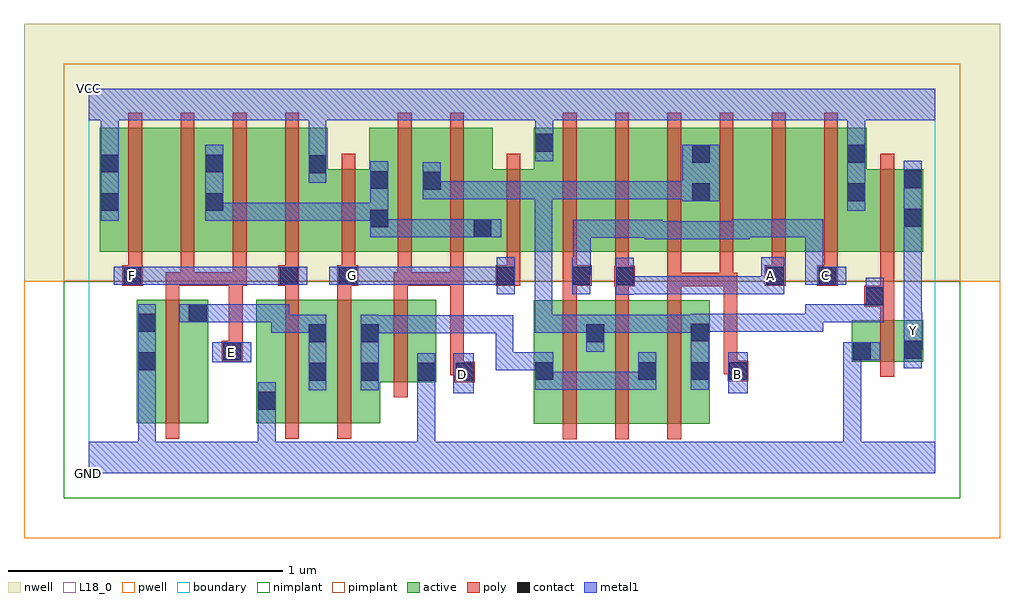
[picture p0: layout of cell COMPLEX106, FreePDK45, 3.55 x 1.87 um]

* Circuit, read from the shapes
.subckt COMPLEX106 A B C D E F G GND VCC Y
M1 n1 E GND VSUBS nfet w=0.45u l=0.05u
M2 n1 F GND VSUBS nfet w=0.45u l=0.05u
M3 n2 G n1 VSUBS nfet w=0.45u l=0.05u
M4 GND D n2 VSUBS nfet w=0.3u l=0.05u
M5 n3 C n2 VSUBS nfet w=0.45u l=0.05u
M6 n2 A n3 VSUBS nfet w=0.45u l=0.05u
M7 n3 B n2 VSUBS nfet w=0.45u l=0.05u
M8 Y n3 GND VSUBS nfet w=0.15u l=0.05u
M9 n4 F VCC n5 pfet w=0.45u l=0.05u
M10 n6 E n4 n5 pfet w=0.45u l=0.05u
M11 n7 E n6 n5 pfet w=0.45u l=0.05u
M12 VCC F n7 n5 pfet w=0.45u l=0.05u
M13 n6 G VCC n5 pfet w=0.3u l=0.05u m=2
M14 n3 D n6 n5 pfet w=0.45u l=0.05u m=2
M15 n8 C VCC n5 pfet w=0.45u l=0.05u
M16 n9 A n8 n5 pfet w=0.45u l=0.05u
M17 n3 B n9 n5 pfet w=0.45u l=0.05u
M18 n10 B n3 n5 pfet w=0.45u l=0.05u
M19 n11 A n10 n5 pfet w=0.45u l=0.05u
M20 VCC C n11 n5 pfet w=0.45u l=0.05u
M21 Y n3 VCC n5 pfet w=0.3u l=0.05u
.ends

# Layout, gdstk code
import gdstk
lib = gdstk.Library(unit=1e-6, precision=1e-09)
def R(c, l, rs):  # rectangles x0, y0, x1, y1
    for r in rs: c.add(gdstk.rectangle(r[:2], r[2:], *l))
def A(c, l, x, y, w, h, nx, ny, dx, dy):  # array of equal rectangles
    R(c, l, [(x+i*dx, y+j*dy, x+i*dx+w, y+j*dy+h) for i in range(nx) for j in range(ny)])
active = (1, 0)
pwell = (2, 0)
nwell = (3, 0)
nimplant = (4, 0)
pimplant = (5, 0)
poly = (9, 0)
contact = (10, 0)
metal1 = (11, 0)
L18_0 = (18, 0)
boundary = (235, 0)

complex106 = lib.new_cell('COMPLEX106')
R(complex106, active, [(1.62,0.18,1.88,0.63), (1.805,0.18,2.07,0.63), (1.995,0.18,2.26,0.63), (0.175,0.182,0.435,0.632), (0.61,0.182,0.87,0.632), (0.61,0.182,0.685,0.632), (0.795,0.182,1.06,0.632), (0.175,0.195,0.25,0.632), (0.36,0.195,0.435,0.632), (0.795,0.195,0.87,0.547), (1.62,0.195,1.695,0.63), (1.805,0.195,1.88,0.63), (1.995,0.195,2.07,0.542), (2.185,0.195,2.26,0.63), (0.985,0.2,1.06,0.547), (0.985,0.332,1.265,0.632), (1.19,0.332,1.265,0.632), (2.775,0.407,3.035,0.557), (2.775,0.407,2.85,0.557), (2.96,0.412,3.035,0.557), (0.04,0.807,0.115,1.257), (0.04,0.807,0.265,1.257), (0.265,0.807,0.495,1.257), (0.42,0.807,0.495,1.2), (0.42,0.807,0.645,1.257), (0.645,0.807,0.87,1.257), (0.795,0.807,1.095,1.107), (1.02,0.807,1.285,1.257), (1.02,0.807,1.095,1.2), (1.21,0.807,1.47,1.257), (1.21,0.807,1.285,1.2), (1.395,0.807,1.695,1.107), (1.62,0.807,1.845,1.257), (1.845,0.807,2.035,1.257), (2.035,0.807,2.265,1.257), (2.19,0.807,2.265,1.2), (2.19,0.807,2.415,1.257), (2.415,0.807,2.605,1.257), (2.605,0.807,2.83,1.257), (2.755,0.807,3.035,1.107), (2.755,0.807,2.83,1.2), (2.96,0.807,3.035,1.107), (0.795,0.852,0.87,1.162), (1.395,0.855,1.47,1.07), (1.62,0.932,1.695,1.257)])
R(complex106, pwell, [(-0.235,-0.235,3.315,0.7)])
R(complex106, nwell, [(-0.235,0.7,3.315,1.635)])
R(complex106, nimplant, [(-0.09,-0.09,3.17,0.7)])
R(complex106, pimplant, [(-0.09,0.7,3.17,1.49)])
A(complex106, poly, 1.725, 0.125, 0.05, 0.56, 3, 1, 0.19, 0)
A(complex106, poly, 0.145, 0.752, 0.05, 0.56, 4, 1, 0.19, 0)
A(complex106, poly, 1.725, 0.752, 0.05, 0.56, 6, 1, 0.19, 0)
R(complex106, poly, [(0.28,0.127,0.33,0.687), (0.715,0.127,0.765,0.687), (0.905,0.127,0.955,0.687), (1.11,0.277,1.16,0.687), (1.33,0.332,1.405,0.407), (2.325,0.335,2.4,0.41), (2.88,0.352,2.93,0.612), (1.315,0.357,1.38,0.407), (1.315,0.357,1.365,0.732), (1.33,0.357,1.38,0.407), (2.31,0.36,2.36,0.73), (2.31,0.36,2.375,0.41), (2.325,0.36,2.375,0.41), (0.485,0.407,0.56,0.482), (0.51,0.432,0.56,0.482), (0.51,0.432,0.56,0.482), (0.51,0.432,0.56,0.732), (2.88,0.562,2.93,0.657), (2.822,0.607,2.93,0.682), (2.88,0.632,2.93,0.802), (1.725,0.635,1.775,0.732), (1.915,0.635,1.965,0.73), (2.105,0.635,2.155,0.73), (0.28,0.637,0.33,0.732), (0.715,0.637,0.765,0.732), (0.905,0.637,0.955,0.732), (1.11,0.637,1.16,0.732), (1.912,0.68,1.987,0.755), (2.105,0.68,2.155,0.802), (2.105,0.68,2.155,0.73), (2.105,0.68,2.345,0.73), (2.295,0.68,2.345,0.802), (2.295,0.68,2.345,0.73), (2.295,0.68,2.345,0.73), (2.295,0.68,2.36,0.73), (0.122,0.682,0.197,0.757), (0.28,0.682,0.385,0.732), (0.335,0.682,0.385,0.732), (0.335,0.682,0.385,0.732), (0.335,0.682,0.385,0.802), (0.335,0.682,0.56,0.732), (0.51,0.682,0.575,0.732), (0.525,0.682,0.575,0.802), (0.69,0.682,0.765,0.757), (0.905,0.682,0.98,0.757), (1.11,0.682,1.175,0.732), (1.125,0.682,1.365,0.732), (1.125,0.682,1.175,0.802), (1.315,0.682,1.365,0.732), (1.315,0.682,1.365,0.732), (1.315,0.682,1.365,0.732), (1.315,0.682,1.365,0.802), (1.48,0.682,1.57,0.757), (1.725,0.682,1.83,0.757), (2.46,0.682,2.535,0.757), (2.65,0.682,2.725,0.757), (1.915,0.705,1.965,0.802), (0.145,0.707,0.195,0.802), (0.715,0.707,0.765,0.802), (0.92,0.707,0.97,0.802), (1.52,0.707,1.57,0.802), (1.725,0.707,1.775,0.802), (2.485,0.707,2.535,0.802), (2.675,0.707,2.725,0.802), (0.92,0.752,0.97,1.162), (1.125,0.752,1.175,1.312), (1.315,0.752,1.365,1.312), (1.52,0.752,1.57,1.162), (2.88,0.752,2.93,1.162)])
R(complex106, contact, [(0.615,0.232,0.68,0.297), (0.8,0.337,0.865,0.402), (0.99,0.337,1.055,0.402), (1.195,0.337,1.26,0.402), (1.335,0.337,1.4,0.402), (1.625,0.34,1.69,0.405), (2,0.34,2.065,0.405), (2.19,0.34,2.255,0.405), (2.33,0.34,2.395,0.405), (0.18,0.375,0.245,0.44), (0.49,0.412,0.555,0.477), (2.78,0.412,2.845,0.477), (2.965,0.417,3.03,0.482), (0.8,0.477,0.865,0.542), (0.99,0.477,1.055,0.542), (1.81,0.477,1.875,0.542), (2.19,0.48,2.255,0.545), (0.18,0.515,0.245,0.58), (0.365,0.55,0.43,0.615), (2.827,0.612,2.892,0.677), (1.917,0.685,1.982,0.75), (0.127,0.687,0.192,0.752), (0.695,0.687,0.76,0.752), (0.91,0.687,0.975,0.752), (1.485,0.687,1.55,0.752), (1.76,0.687,1.825,0.752), (2.465,0.687,2.53,0.752), (2.655,0.687,2.72,0.752), (1.4,0.86,1.465,0.925), (1.025,0.895,1.09,0.96), (2.965,0.897,3.03,0.962), (0.045,0.955,0.11,1.02), (0.425,0.955,0.49,1.02), (2.195,0.99,2.26,1.055), (2.76,0.99,2.825,1.055), (1.215,1.032,1.28,1.097), (1.025,1.035,1.09,1.1), (2.965,1.037,3.03,1.102), (0.8,1.092,0.865,1.157), (0.045,1.095,0.11,1.16), (0.425,1.095,0.49,1.16), (2.195,1.13,2.26,1.195), (2.76,1.13,2.825,1.195), (1.625,1.17,1.69,1.235)])
R(complex106, metal1, [(0,0,3.08,0.115), (0.18,0.05,0.245,0.115), (0.18,0.05,0.245,0.115), (0.18,0.05,0.245,0.405), (0.615,0.05,0.68,0.115), (0.615,0.05,0.68,0.115), (0.615,0.05,0.68,0.262), (1.195,0.05,1.26,0.115), (1.195,0.05,1.26,0.115), (1.195,0.05,1.26,0.115), (1.195,0.05,1.26,0.115), (1.195,0.05,1.26,0.367), (2.745,0.05,2.81,0.115), (2.745,0.05,2.81,0.115), (2.745,0.05,2.81,0.115), (2.745,0.05,2.81,0.115), (2.745,0.05,2.81,0.115), (2.745,0.05,2.81,0.115), (2.745,0.05,2.81,0.477), (0.615,0.197,0.68,0.332), (1.327,0.292,1.4,0.437), (2.327,0.292,2.397,0.44), (0.8,0.302,0.865,0.577), (0.99,0.302,1.055,0.577), (1.195,0.302,1.26,0.437), (1.625,0.305,1.69,0.37), (1.625,0.305,1.69,0.37), (1.625,0.305,1.69,0.44), (1.625,0.305,1.827,0.37), (1.762,0.305,1.827,0.37), (1.762,0.305,2.065,0.37), (2,0.305,2.065,0.37), (2,0.305,2.065,0.37), (2,0.305,2.065,0.44), (2.19,0.305,2.255,0.58), (0.18,0.34,0.245,0.615), (1.48,0.375,1.545,0.44), (1.48,0.375,1.545,0.44), (1.48,0.375,1.545,0.44), (1.48,0.375,1.545,0.575), (1.48,0.375,1.69,0.44), (2.965,0.382,3.03,0.517), (0.45,0.405,0.592,0.477), (2.745,0.412,2.88,0.477), (1.81,0.442,1.875,0.577), (2.965,0.452,3.03,0.517), (2.965,0.452,3.032,0.587), (0.99,0.51,1.165,0.575), (1.1,0.51,1.165,0.575), (1.1,0.51,1.227,0.575), (1.162,0.51,1.227,0.575), (1.162,0.51,1.4,0.575), (1.335,0.51,1.4,0.575), (1.335,0.51,1.545,0.575), (1.48,0.51,1.545,0.575), (0.665,0.512,0.865,0.577), (0.665,0.512,0.73,0.615), (1.622,0.512,1.687,0.577), (1.622,0.512,1.687,0.577), (1.622,0.512,1.687,0.577), (1.622,0.512,1.845,0.577), (1.622,0.512,1.687,1.062), (1.78,0.512,1.845,0.577), (1.78,0.512,1.875,0.577), (1.81,0.512,2.012,0.577), (1.947,0.512,2.012,0.577), (1.947,0.512,2.012,0.577), (1.947,0.512,2.012,0.577), (1.947,0.512,2.225,0.577), (2.16,0.512,2.225,0.577), (2.16,0.512,2.255,0.577), (2.19,0.515,2.362,0.58), (2.297,0.515,2.362,0.58), (2.297,0.515,2.535,0.58), (2.47,0.515,2.535,0.58), (2.47,0.515,2.535,0.58), (2.47,0.515,2.535,0.58), (2.47,0.515,2.672,0.58), (2.607,0.515,2.672,0.58), (2.607,0.515,2.672,0.58), (2.607,0.515,2.672,0.615), (2.965,0.522,3.03,0.927), (0.33,0.55,0.465,0.615), (0.4,0.55,0.502,0.615), (0.437,0.55,0.502,0.615), (0.437,0.55,0.727,0.615), (0.662,0.55,0.727,0.615), (0.662,0.55,0.73,0.615), (2.607,0.55,2.892,0.615), (2.827,0.55,2.892,0.615), (2.827,0.55,2.892,0.642), (2.827,0.577,2.892,0.642), (2.827,0.577,2.892,0.642), (2.827,0.577,2.892,0.712), (1.917,0.65,1.982,0.785), (1.485,0.652,1.55,0.787), (1.76,0.652,1.825,0.787), (1.917,0.652,2.087,0.717), (2.022,0.652,2.087,0.717), (2.022,0.652,2.225,0.717), (2.16,0.652,2.225,0.717), (2.16,0.652,2.267,0.717), (2.202,0.652,2.267,0.717), (2.202,0.652,2.362,0.717), (2.297,0.652,2.362,0.717), (2.297,0.652,2.512,0.717), (2.447,0.652,2.512,0.717), (2.447,0.652,2.512,0.717), (2.447,0.652,2.53,0.787), (0.092,0.687,0.227,0.752), (0.162,0.687,0.227,0.752), (0.162,0.687,0.227,0.752), (0.162,0.687,0.365,0.752), (0.3,0.687,0.365,0.752), (0.3,0.687,0.502,0.752), (0.437,0.687,0.502,0.752), (0.437,0.687,0.502,0.752), (0.437,0.687,0.502,0.752), (0.437,0.687,0.725,0.752), (0.66,0.687,0.725,0.752), (0.66,0.687,0.725,0.752), (0.66,0.687,0.795,0.752), (0.875,0.687,1.027,0.752), (0.962,0.687,1.027,0.752), (0.962,0.687,1.027,0.752), (0.962,0.687,1.165,0.752), (1.1,0.687,1.165,0.752), (1.1,0.687,1.292,0.752), (1.227,0.687,1.292,0.752), (1.227,0.687,1.392,0.752), (1.327,0.687,1.392,0.752), (1.327,0.687,1.55,0.752), (1.485,0.687,1.55,0.752), (1.485,0.687,1.55,0.752), (2.607,0.687,2.672,0.752), (2.607,0.687,2.677,0.752), (2.607,0.687,2.672,0.925), (2.612,0.687,2.755,0.752), (1.76,0.722,1.827,0.787), (1.762,0.722,1.827,0.787), (1.762,0.722,1.827,0.922), (2.022,0.852,2.225,0.917), (2.022,0.852,2.087,0.922), (2.16,0.852,2.225,0.917), (2.16,0.852,2.225,0.917), (2.16,0.852,2.225,0.917), (2.16,0.852,2.362,0.917), (2.297,0.852,2.362,0.917), (2.297,0.852,2.405,0.917), (2.34,0.852,2.405,0.925), (1.762,0.857,1.827,0.922), (1.762,0.857,2.087,0.922), (2.022,0.857,2.087,0.922), (2.022,0.857,2.087,0.922), (1.025,0.86,1.09,1.135), (1.025,0.86,1.165,0.925), (1.1,0.86,1.165,0.925), (1.1,0.86,1.227,0.925), (1.162,0.86,1.227,0.925), (1.162,0.86,1.387,0.925), (1.322,0.86,1.387,0.925), (1.322,0.86,1.43,0.925), (1.365,0.86,1.5,0.925), (2.34,0.86,2.535,0.925), (2.47,0.86,2.535,0.925), (2.47,0.86,2.672,0.925), (2.607,0.86,2.672,0.925), (2.965,0.862,3.03,1.137), (0.045,0.92,0.11,1.195), (0.425,0.92,0.49,1.195), (0.425,0.92,0.502,0.985), (0.437,0.92,0.502,0.985), (0.437,0.92,0.727,0.985), (0.662,0.92,0.727,0.985), (0.662,0.92,0.727,0.985), (0.662,0.92,0.727,0.985), (0.662,0.92,0.867,0.985), (0.802,0.92,0.867,0.985), (0.802,0.92,0.867,0.985), (0.802,0.92,0.867,0.985), (0.802,0.92,1.09,0.985), (2.76,0.955,2.825,1.23), (2.16,0.99,2.295,1.195), (1.215,0.997,1.28,1.132), (1.215,0.997,1.327,1.062), (1.262,0.997,1.327,1.062), (1.262,0.997,1.537,1.062), (1.472,0.997,1.537,1.062), (1.472,0.997,1.537,1.062), (1.472,0.997,1.537,1.062), (1.472,0.997,1.687,1.062), (1.622,0.997,1.687,1.062), (1.622,0.997,1.687,1.062), (1.622,0.997,1.687,1.062), (1.622,0.997,1.687,1.062), (1.622,0.997,1.687,1.062), (1.622,0.997,1.827,1.062), (1.762,0.997,1.827,1.062), (1.762,0.997,2.012,1.062), (1.947,0.997,2.012,1.062), (1.947,0.997,2.012,1.062), (1.947,0.997,2.012,1.062), (1.947,0.997,2.225,1.062), (2.16,0.997,2.225,1.062), (2.16,0.997,2.225,1.062), (0.8,1.057,0.865,1.192), (0.8,1.127,0.865,1.35), (0.045,1.13,0.11,1.35), (1.625,1.135,1.69,1.27), (2.76,1.165,2.825,1.35), (1.625,1.205,1.69,1.35), (0,1.285,3.08,1.4)])
R(complex106, L18_0, [(0,0,3.08,0.115), (0.18,0.05,0.245,0.115), (0.18,0.05,0.245,0.115), (0.18,0.05,0.245,0.405), (0.615,0.05,0.68,0.115), (0.615,0.05,0.68,0.115), (0.615,0.05,0.68,0.262), (1.195,0.05,1.26,0.115), (1.195,0.05,1.26,0.115), (1.195,0.05,1.26,0.115), (1.195,0.05,1.26,0.115), (1.195,0.05,1.26,0.367), (2.745,0.05,2.81,0.115), (2.745,0.05,2.81,0.115), (2.745,0.05,2.81,0.115), (2.745,0.05,2.81,0.115), (2.745,0.05,2.81,0.115), (2.745,0.05,2.81,0.115), (2.745,0.05,2.81,0.477), (0.615,0.197,0.68,0.332), (1.327,0.292,1.4,0.437), (2.327,0.292,2.397,0.44), (1.195,0.302,1.26,0.437), (1.327,0.327,1.392,0.392), (2.327,0.327,2.392,0.392), (0.18,0.34,0.245,0.615), (2.965,0.382,3.03,0.517), (0.45,0.405,0.592,0.477), (0.487,0.407,0.552,0.472), (2.745,0.412,2.88,0.477), (2.965,0.452,3.03,0.517), (2.965,0.452,3.032,0.587), (2.967,0.487,3.032,0.552), (2.965,0.522,3.03,0.927), (1.917,0.65,1.982,0.785), (1.485,0.652,1.55,0.787), (1.76,0.652,1.825,0.787), (1.917,0.652,2.087,0.717), (2.022,0.652,2.087,0.717), (2.022,0.652,2.225,0.717), (2.16,0.652,2.225,0.717), (2.16,0.652,2.267,0.717), (2.202,0.652,2.267,0.717), (2.202,0.652,2.362,0.717), (2.297,0.652,2.362,0.717), (2.297,0.652,2.512,0.717), (2.447,0.652,2.512,0.717), (2.447,0.652,2.512,0.717), (2.447,0.652,2.53,0.787), (0.092,0.687,0.227,0.752), (0.127,0.687,0.192,0.752), (0.162,0.687,0.227,0.752), (0.162,0.687,0.227,0.752), (0.162,0.687,0.365,0.752), (0.3,0.687,0.365,0.752), (0.3,0.687,0.502,0.752), (0.437,0.687,0.502,0.752), (0.437,0.687,0.502,0.752), (0.437,0.687,0.502,0.752), (0.437,0.687,0.725,0.752), (0.66,0.687,0.795,0.752), (0.66,0.687,0.725,0.752), (0.66,0.687,0.725,0.752), (0.875,0.687,1.027,0.752), (0.927,0.687,0.992,0.752), (0.962,0.687,1.027,0.752), (0.962,0.687,1.027,0.752), (0.962,0.687,1.165,0.752), (1.1,0.687,1.165,0.752), (1.1,0.687,1.292,0.752), (1.227,0.687,1.292,0.752), (1.227,0.687,1.392,0.752), (1.327,0.687,1.392,0.752), (1.327,0.687,1.55,0.752), (1.485,0.687,1.55,0.752), (1.485,0.687,1.55,0.752), (2.447,0.687,2.512,0.752), (2.607,0.687,2.672,0.752), (2.607,0.687,2.672,0.925), (2.607,0.687,2.677,0.752), (2.612,0.687,2.755,0.752), (2.647,0.687,2.712,0.752), (1.76,0.722,1.827,0.787), (1.762,0.722,1.827,0.787), (1.762,0.722,1.827,0.922), (2.022,0.852,2.225,0.917), (2.022,0.852,2.087,0.922), (2.16,0.852,2.225,0.917), (2.16,0.852,2.225,0.917), (2.16,0.852,2.225,0.917), (2.16,0.852,2.362,0.917), (2.297,0.852,2.362,0.917), (2.297,0.852,2.405,0.917), (2.34,0.852,2.405,0.925), (1.762,0.857,1.827,0.922), (1.762,0.857,2.087,0.922), (2.022,0.857,2.087,0.922), (2.022,0.857,2.087,0.922), (2.34,0.86,2.535,0.925), (2.47,0.86,2.535,0.925), (2.47,0.86,2.672,0.925), (2.607,0.86,2.672,0.925), (2.965,0.862,3.03,1.137), (0.045,0.92,0.11,1.195), (2.76,0.955,2.825,1.23), (0.8,1.057,0.865,1.192), (0.8,1.127,0.865,1.35), (0.045,1.13,0.11,1.35), (1.625,1.135,1.69,1.27), (2.76,1.165,2.825,1.35), (1.625,1.205,1.69,1.35), (0,1.285,3.08,1.4)])
R(complex106, boundary, [(0,0,3.08,1.4)])
complex106.add(gdstk.Label('A', (2.48,0.72), layer=11, texttype=0))
complex106.add(gdstk.Label('B', (2.36,0.36), layer=11, texttype=0))
complex106.add(gdstk.Label('C', (2.68,0.72), layer=11, texttype=0))
complex106.add(gdstk.Label('D', (1.36,0.36), layer=11, texttype=0))
complex106.add(gdstk.Label('E', (0.52,0.44), layer=11, texttype=0))
complex106.add(gdstk.Label('F', (0.16,0.72), layer=11, texttype=0))
complex106.add(gdstk.Label('G', (0.96,0.72), layer=11, texttype=0))
complex106.add(gdstk.Label('Y', (3,0.52), layer=11, texttype=0))
complex106.add(gdstk.Label('VCC', (0,1.4), layer=11, texttype=0))
complex106.add(gdstk.Label('GND', (0,0), layer=11, texttype=0))

lib.write_gds('COMPLEX106.gds')
